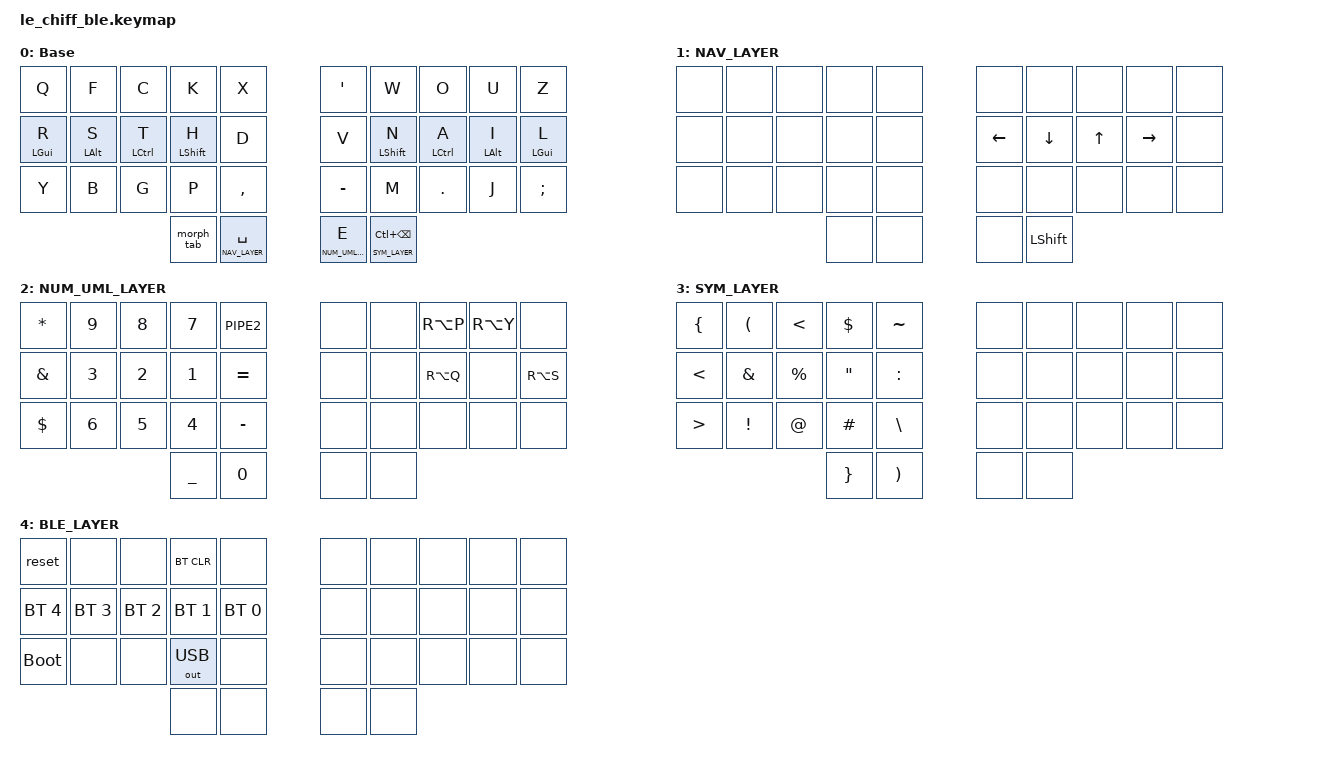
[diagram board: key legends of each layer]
/*
 * SPDX-License-Identifier: MIT
 */

#include <behaviors.dtsi>
#include <dt-bindings/zmk/keys.h>
#include <dt-bindings/zmk/bt.h>
#include <dt-bindings/zmk/outputs.h>

&caps_word {
   continue-list = <LSHIFT UNDERSCORE MINUS BSPC>; 
};

#define BASE 0
#define NAV_LAYER 1
#define	NUM_UML_LAYER 2
#define	SYM_LAYER 3
#define BLE_LAYER 4

/ {

    macros {
    
        lambda_arrow: lambda_arrow {
            label = "lambda_arrow";
            compatible = "zmk,behavior-macro";
            #binding-cells = <0>;
            wait-ms = <10>;
            tap-ms = <10>;
            bindings = <&kp MINUS &kp GREATER_THAN>
            ;
        };
        
    };

    //   ╔═════════════════════════════╗    ╔═════════════════════════════╗
    //   ║  0  |  1  |  2  |  3  |  4  ║    ║  5  |  6  |  7  |  8  |  9  ║
    //   ║ 10  | 11  | 12  | 13  | 14  ║    ║ 15  | 16  | 17  | 18  | 19  ║
    //   ║ 20  | 21  | 22  | 23  | 24  ║    ║ 25  | 26  | 27  | 28  | 39  ║
    //   ╚═════════════╗  30   |  31   ║    ║  32   |  33   ╔═════════════╝
    //                 ╚═══════════════╝    ╚═══════════════╝
    
    combos {
        compatible = "zmk,combos"; 
	
        bootloader {
            timeout-ms = <50>;
            key-positions = <0 1 8 9>;
            bindings = <&bootloader>;
        };

        left_shift {
            timeout-ms = <50>;
            key-positions = <13 14>;
            bindings = <&sk LSHIFT>;
        };
	
        combo_question {
            timeout-ms = <50>;
            key-positions = <27 28>;
            bindings = <&kp QMARK>;
        };
	
        combo_exlemnationmark {
            timeout-ms = <50>;
            key-positions = <28 29>;
            bindings = <&kp EXCL>;
        };

        right_shift {
            timeout-ms = <50>;
            key-positions = <15 16>;
            bindings = <&sk LSHIFT>;
        };
 
        combo_lPar {
            timeout-ms = <50>;
            key-positions = <1 2>;
            bindings = <&kp LPAR>;
        };

        combo_lBrace {
            timeout-ms = <50>;
            key-positions = <2 3>;
            bindings = <&kp LEFT_BRACE>;
        };

        combo_arrow {
            timeout-ms = <50>;
            key-positions = <3 4>;
            bindings = <&lambda_arrow>;
        };

        combo_rBrace {
            timeout-ms = <50>;
            key-positions = <6 7>;
            bindings = <&kp RIGHT_BRACE>;
        };
	
        combo_rPar {
            timeout-ms = <50>;
            key-positions = <7 8>;
            bindings = <&kp RPAR>;
        };

        combo_del {
            timeout-ms = <50>;
            key-positions = <8 9>;
            bindings = <&kp DEL>;
        };

        combo_tab {
            timeout-ms = <50>;
            key-positions = <11 12>;
            bindings = <&kp TAB>;
        };
	
	combo_esc {
            timeout-ms = <50>;
            key-positions = <12 13>;
            bindings = <&kp ESC>;
        };
	
        combo_enter {
            timeout-ms = <50>;
            key-positions = <16 17>;
            bindings = <&kp RET>;
        };
 
        combo_ctrl_backspace {
            timeout-ms = <50>;
            key-positions = <16 17 18>;
            bindings = <&kp LC(BSPC)>;
        };

        combo_backspace {
            timeout-ms = <50>;
            key-positions = <17 18>;
            bindings = <&kp BSPC>;
        };
	
	combo_caps_word {
            timeout-ms = <50>;
            key-positions = <13 16>;
            bindings = <&caps_word>;
        };
	
        combo_bleLayer {
            timeout-ms = <125>;
            key-positions = <30 31>;
            bindings = <&mo BLE_LAYER>;
        };
	
    };

    behaviors {        
		hm_shift: homerow_mods {
			compatible = "zmk,behavior-hold-tap";
			label = "HOMEROW_MODS";
			#binding-cells = <2>;
			tapping_term_ms = <125>;
			quick_tap_ms = <200>;
			global-quick-tap;
			flavor = "tap-preferred";
			bindings = <&kp>, <&kp>;
		};
		
		hm_gui: homerow_mods {
			compatible = "zmk,behavior-hold-tap";
			label = "HOMEROW_MODS";
			#binding-cells = <2>;
			tapping_term_ms = <175>;
			quick_tap_ms = <200>;
			global-quick-tap;
			flavor = "tap-preferred";
			bindings = <&kp>, <&kp>;
		};
		
		gqt: global-quick-tap {
		    compatible = "zmk,behavior-hold-tap";
		    label = "GLOBAL_QUICK_TAP";
		    #binding-cells = <2>;
		    flavor = "tap-preferred";
		    tapping-term-ms = <175>;
		    quick-tap-ms = <125>;
		    bindings = <&kp>, <&kp>;
		};
		
		morph_tab: morph_tab {
		    compatible = "zmk,behavior-mod-morph";
		    label = "MOD_MORPH";
		    #binding-cells = <0>;
		    bindings = <&kp SLASH>, <&kp TAB>;
		    mods = <(MOD_LGUI|MOD_LCTL|MOD_LALT)>;
		};
		
    };
    
    keymap {
        compatible = "zmk,keymap";

        BASE {
            label = "Base";
            bindings = <
                &kp Q           &kp F        &kp C         &kp K               &kp X             &kp SQT    &kp W                &kp O         &kp U        &kp Z
                &hm_gui LGUI R  &gqt LALT S  &gqt LCTRL T  &hm_shift LSHIFT H  &kp D             &kp V      &hm_shift LSHIFT N   &gqt LCTRL A  &gqt LALT I  &hm_gui LGUI L 
                &kp Y           &kp B        &kp G         &kp P               &kp COMMA         &kp MINUS  &kp M                &kp DOT       &kp J        &kp SEMI
                              &morph_tab  &lt NAV_LAYER SPACE        &lt NUM_UML_LAYER E  &lt SYM_LAYER LC(BSPC)  
            >;
        };

       NAV_LAYER {
          bindings = <
  &none  &none  &none  &none  &none      &none    &none     &none   &none      &none
  &none  &none  &none  &none  &none      &kp LEFT &kp DOWN  &kp UP  &kp RIGHT  &none
  &none  &none  &none  &none  &none      &none    &none     &none   &none      &none
                        &none &none      &none  &kp LSHFT
                        >;
                };
/*
   NUMBER LAYER
  ╭────────────────────╮ ╭────────────────────╮
  │  *   9   8   7   | │ │ __  __   ö   ü  __ │
  │  &   3   2   1   + │ │ __  __   ä  __   ß │
  │  $   6   5   4   - │ │ __  __  __  __  __ │
  ╰───────────╮  _   0 │ │        ╭───────────╯
              ╰────────╯ ╰────────╯            
*/
       NUM_UML_LAYER {
          bindings = <
  &kp STAR  &kp N9  &kp N8  &kp N7  &kp PIPE2          &none  &none  &kp RA(P)  &kp RA(Y)  &none
  &kp AMPS  &kp N3  &kp N2  &kp N1  &kp EQUAL          &none  &none  &kp RA(Q)  &none     &kp RA(S)
  &kp DOLLAR &kp N6  &kp N5  &kp N4  &kp MINUS          &none  &none  &none     &none      &none
               &kp UNDER &kp N0          &none &none
                        >;
                };

/*               SYMBOL LAYER 

  ╭────────────────────╮ ╭────────────────────╮
  │  {   (   <   $   ~ │ │ __  __  __  __  __ │
  │  €   &   %   "   : │ │ __  __  __  __  __ │
  │  >   !   @   #   | │ │ __  __  __  __  __ │
  ╰───────────╮  }   ) │ │ __  __ ╭───────────╯
              ╰────────╯ ╰────────╯            
*/
       SYM_LAYER {
          bindings = <
  &kp LEFT_BRACE    &kp LEFT_PARENTHESIS  &kp LESS_THAN  &kp DOLLAR  &kp TILDE        &none  &none  &none  &none  &none
  &kp LESS_THAN     &kp AMPERSAND         &kp PERCENT    &kp DQT     &kp COLON        &none  &none  &none  &none  &none
  &kp GREATER_THAN  &kp EXCLAMATION       &kp AT_SIGN    &kp HASH    &kp BACKSLASH    &none  &none  &none  &none  &none
                                          &kp RIGHT_BRACE &kp RIGHT_PARENTHESIS             &none &none
                        >;
                };	

  BLE_LAYER {
	  bindings = <
		&reset        &none         &none         &bt BT_CLR     &none                 &none &none &none &none &none
		&bt BT_SEL 4  &bt BT_SEL 3  &bt BT_SEL 2  &bt BT_SEL 1   &bt BT_SEL 0          &none &none &none &none &none
		&bootloader   &none         &none         &out OUT_USB   &none                 &none &none &none &none &none
					      &none &none                        &none &none
			>;
		};

    };
};
